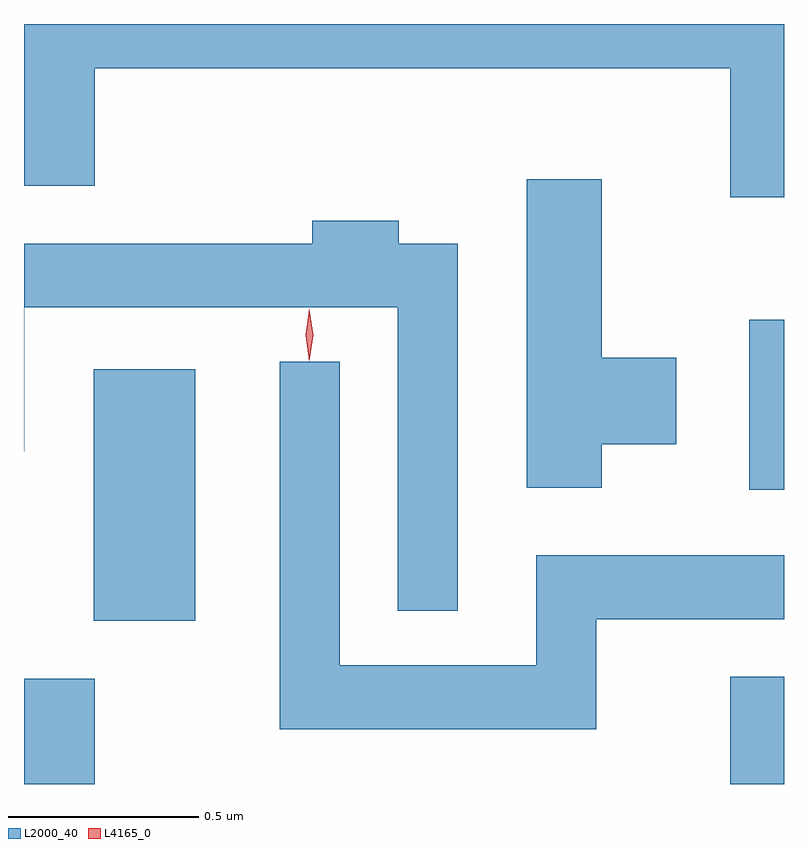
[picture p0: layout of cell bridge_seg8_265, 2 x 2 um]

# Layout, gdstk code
import gdstk
lib = gdstk.Library(unit=1e-6, precision=1e-09)
def R(c, l, rs):  # rectangles x0, y0, x1, y1
    for r in rs: c.add(gdstk.rectangle(r[:2], r[2:], *l))
def P(c, l, *ps):  # polygons
    for p in ps: c.add(gdstk.Polygon(p, *l))
L2000_40 = (2000, 40)
L4165_0 = (4165, 0)

bridge_seg8_265 = lib.new_cell('bridge_seg8_265')
R(bridge_seg8_265, L2000_40, [(1080.143,1852.292,1080.329,1852.569), (1082.001,1852.292,1082.143,1852.574), (1080.326,1852.721,1080.594,1853.384), (1082.051,1853.066,1082.143,1853.514)])
P(bridge_seg8_265, L2000_40, [(1082.143,1854.292),(1080.143,1854.292),(1080.143,1853.866),(1080.329,1853.866),(1080.329,1854.176),(1082.001,1854.176),(1082.001,1853.836),(1082.143,1853.836)],
  [(1081.664,1853.186),(1081.859,1853.186),(1081.859,1853.414),(1081.664,1853.414),(1081.664,1853.884),(1081.466,1853.884),(1081.466,1853.071),(1081.664,1853.071)],
  [(1081.284,1853.714),(1081.129,1853.714),(1081.129,1853.774),(1080.901,1853.774),(1080.901,1853.714),(1080.143,1853.714),(1080.143,1853.168),(1080.144,1853.168),(1080.144,1853.546),(1081.126,1853.546),(1081.126,1852.748),(1081.284,1852.748)],
  [(1081.649,1852.726),(1082.143,1852.726),(1082.143,1852.894),(1081.491,1852.894),(1081.491,1852.604),(1080.974,1852.604),(1080.974,1853.403),(1080.816,1853.403),(1080.816,1852.436),(1081.649,1852.436)])
P(bridge_seg8_265, L4165_0, [(1080.893,1853.404),(1080.884,1853.473),(1080.893,1853.542),(1080.894,1853.543),(1080.894,1853.542),(1080.904,1853.473),(1080.894,1853.404),(1080.894,1853.404)],
  [(1080.893,1853.407),(1080.884,1853.474),(1080.893,1853.54),(1080.894,1853.54),(1080.894,1853.54),(1080.904,1853.474),(1080.894,1853.407),(1080.894,1853.407)])

lib.write_gds('bridge_seg8_265.gds')
